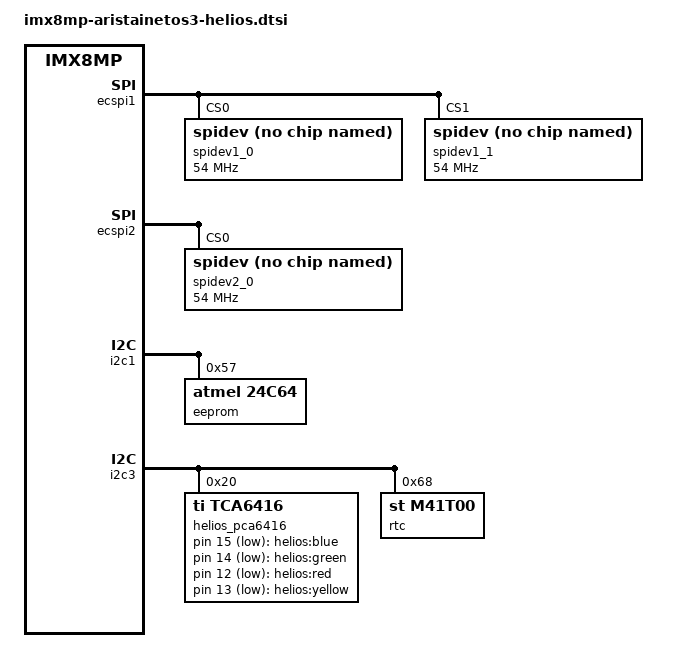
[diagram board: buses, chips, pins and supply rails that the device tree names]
// SPDX-License-Identifier: (GPL-2.0+ OR MIT)
/*
 * Copyright (C) 2024 Heiko Schocher <hs@denx.de>
 */

#include <dt-bindings/gpio/gpio.h>

&{/} {
	helios_gpio_leds {
		compatible = "gpio-leds";

		helios_blue {
			label = "helios:blue";
			gpios = <&helios_pca6416 15 GPIO_ACTIVE_LOW>;
			default-state = "off";
		};

		helios_green {
			label = "helios:green";
			gpios = <&helios_pca6416 14 GPIO_ACTIVE_LOW>;
			default-state = "off";
		};

		helios_red {
			label = "helios:red";
			gpios = <&helios_pca6416 12 GPIO_ACTIVE_LOW>;
			default-state = "off";
		};

		helios_yellow {
			label = "helios:yellow";
			gpios = <&helios_pca6416 13 GPIO_ACTIVE_LOW>;
			default-state = "off";
		};
	};
};

&dp83867_0 {
	status = "disabled";
};

&ecspi1 {
	spidev1_0: spi@0 {
		compatible = "rohm,dh2228fv";
		reg = <0>;
		spi-max-frequency = <54000000>;
	};

	spidev1_1: spi@1 {
		compatible = "rohm,dh2228fv";
		reg = <1>;
		spi-max-frequency = <54000000>;
	};
};

&ecspi2 {
	spidev2_0: spi@0 {
		compatible = "rohm,dh2228fv";
		reg = <0>;
		spi-max-frequency = <54000000>;
	};
};

&fec {
	status = "disabled";
};

&i2c1 {
	eeprom@57 {
		compatible = "atmel,24c64";
		reg = <0x57>;
	};
};

&i2c3 {
	helios_pca6416: gpio@20 {
		compatible = "ti,tca6416";
		reg = <0x20>;
		gpio-controller;
		#gpio-cells = <2>;
		gpio-line-names = "DIN0_CON",
			"DIN1_CON",
			"DIN2_CON",
			"DIN3_CON",
			"DIN4_CON",
			"DIN5_CON",
			"DIN6_CON",
			"DIN7_CON",
			"PM102_RES",
			"COMx_RES",
			"BPL_RES",
			"PC_RES",
			"LED_RED",
			"LED_YELLOW",
			"LED_GREEN",
			"LED_BLUE";
	};

	rtc@68 {
		compatible = "st,m41t00";
		reg = <0x68>;
	};
};
